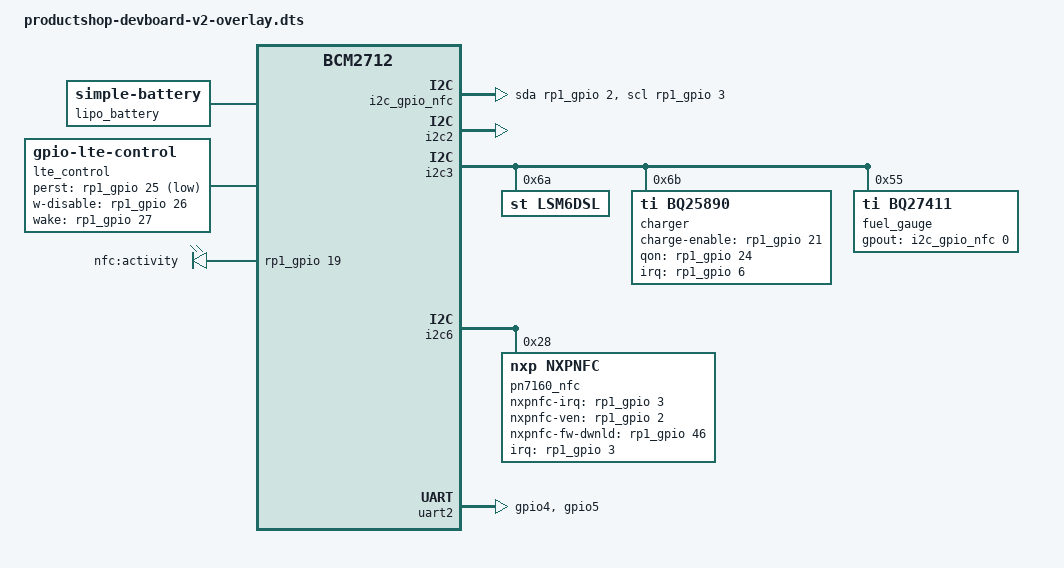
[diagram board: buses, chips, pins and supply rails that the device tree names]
/dts-v1/;
/plugin/;

/{
    compatible = "brcm,bcm2712";

    // --- Battery Definition ---
    lipo_battery: battery {
        compatible = "simple-battery";
        voltage-min-design-microvolt = <3000000>;
        voltage-max-design-microvolt = <4200000>;
        energy-full-design-microwatt-hours = <37000000>;
        charge-full-design-microamp-hours = <10000000>;
    };

    // --- FRAGMENT@0: GPIO Pin Groups ---
    fragment@0 {
        target = <&rp1_gpio>;
        __overlay__ {
            // Display control pins (no PWM - moved to separate overlay)
            display_pins: display_pins {
                pins = "gpio17";  /* LCD_RESET */
                function = "gpio";
                bias-pull-up;
            };

            // NFC pins
            nfc_pins: nfc_pin_group {
                pins = "gpio2", "gpio3", "gpio46";
                function = "gpio";
                bias-pull-up;
            };

            // LTE control pins
            lte_pins: lte_pins {
                pins = "gpio25", "gpio26", "gpio27";
                function = "gpio";
                bias-pull-up;
            };

            // PMIC pins
            pmic_pins: pmic_pins {
                pins = "gpio6", "gpio14", "gpio21", "gpio24";
                function = "gpio";
                bias-pull-up;
            };

            // NFC LED pin
            nfc_led_pin: nfc_led_pin {
                pins = "gpio19";
                function = "gpio";
                bias-pull-up;
                output-high;
            };
        };
    };

    // --- FRAGMENT@4: Camera I2C on i2c2 ---
    fragment@4 {
        target = <&i2c2>;
        __overlay__ {
            #address-cells = <1>;
            #size-cells = <0>;
            pinctrl-0 = <&rp1_i2c2_12_13>;
            status = "okay";
            
            // Camera sensor would go here
        };
    };

    // --- FRAGMENT@5: IMU on i2c3 ---
    fragment@5 {
        target = <&i2c3>;
        __overlay__ {
            #address-cells = <1>;
            #size-cells = <0>;
            pinctrl-0 = <&rp1_i2c3_22_23>;
            status = "okay";
            
            lsm6dsl@6a {
                compatible = "st,lsm6dsl";
                reg = <0x6a>;
                status = "okay";
            };
            
            charger@6b {
                compatible = "ti,bq25890";
                reg = <0x6b>;
                pinctrl-names = "default";
                pinctrl-0 = <&pmic_pins>;
                interrupt-parent = <&rp1_gpio>;
                interrupts = <6 8>; /* GPIO6, IRQ_TYPE_LEVEL_LOW */
                ti,battery-regulation-voltage = <4200000>;
                ti,charge-current = <2000000>;
                ti,termination-current = <128000>;
                ti,precharge-current = <128000>;
                ti,minimum-sys-voltage = <3000000>;
                ti,boost-voltage = <5126000>;
                ti,boost-max-current = <1400000>;
                ti,input-current-limit = <2000000>;
                charge-enable-gpios = <&rp1_gpio 21 0>;
                qon-gpios = <&rp1_gpio 24 0>;
                monitored-battery = <&lipo_battery>;
                status = "okay";
            };

            fuel_gauge@55 {
                compatible = "ti,bq27411";
                reg = <0x55>;
                gpout-gpios = <&i2c_gpio_nfc 0 0>;
                status = "okay";
            };
        };
    };

    // --- FRAGMENT@6: NFC on i2c6 (separate I2C bus) ---
    fragment@6 {
        target = <&i2c6>;
        __overlay__ {
            #address-cells = <1>;
            #size-cells = <0>;
            status = "okay";

            pn7160_nfc: nfc@28 {
                compatible = "nxp,nxpnfc";
                reg = <0x28>;
                status = "okay";
                pinctrl-names = "default";
                pinctrl-0 = <&nfc_pins>;
                interrupt-parent = <&rp1_gpio>;
                interrupts = <3 8>;
                nxp,nxpnfc-irq = <&rp1_gpio 3 0>;
                nxp,nxpnfc-ven = <&rp1_gpio 2 0>;
                nxp,nxpnfc-fw-dwnld = <&rp1_gpio 46 0>;
            };
        };
    };

    // --- FRAGMENT@7: I2C GPIO for NFC ---
    fragment@7 {
        target-path = "/";
        __overlay__ {
            i2c_gpio_nfc: i2c-gpio-nfc {
                compatible = "i2c-gpio";
                sda-gpios = <&rp1_gpio 2 0>;
                scl-gpios = <&rp1_gpio 3 0>;
                i2c-gpio,delay-us = <5>;
                #address-cells = <1>;
                #size-cells = <0>;
            };
        };
    };

    // --- FRAGMENT@8: UART2 ---
    fragment@8 {
        target = <&uart2>;
        __overlay__ {
            pinctrl-names = "default";
            pinctrl-0 = <&uart2_pins>;
            status = "okay";
        };
    };

    // --- FRAGMENT@9: UART2 pins ---
    fragment@9 {
        target = <&rp1_gpio>;
        __overlay__ {
            uart2_pins: uart2_pins {
                pins = "gpio4", "gpio5";
                function = "uart2";
            };
        };
    };

    // --- FRAGMENT@10: LTE Control ---
    fragment@10 {
        target-path = "/";
        __overlay__ {
            lte_control {
                compatible = "gpio-lte-control";
                pinctrl-names = "default";
                pinctrl-0 = <&lte_pins>;
                perst-gpios = <&rp1_gpio 25 1>;
                w-disable-gpios = <&rp1_gpio 26 0>;
                wake-gpios = <&rp1_gpio 27 0>;
            };
        };
    };

    // --- FRAGMENT@13: NFC LED ---
    fragment@13 {
        target-path = "/";
        __overlay__ {
            nfc_led {
                compatible = "gpio-leds";
                pinctrl-names = "default";
                pinctrl-0 = <&nfc_led_pin>;
                
                led@0 {
                    label = "nfc:activity";
                    gpios = <&rp1_gpio 19 0>;
                    default-state = "off";
                };
            };
        };
    };
};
